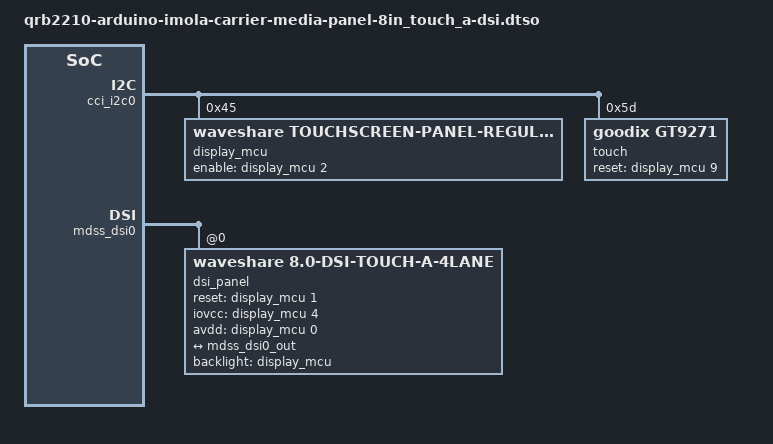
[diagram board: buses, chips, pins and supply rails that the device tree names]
// SPDX-License-Identifier: (GPL-2.0+ OR BSD-3-Clause)
/*
 * Copyright (c) 2025, Arduino SA
 */

 /dts-v1/;
/plugin/;

#include <dt-bindings/gpio/gpio.h>
#include "qrb2210-arduino-imola-carrier-media-common.dtsi"

&cci_i2c0 {
	#address-cells = <1>;
	#size-cells = <0>;

	display_mcu: display_mcu@45 {
		compatible = "waveshare,touchscreen-panel-regulator";
		reg = <0x45>;
		gpio-controller;
		#gpio-cells = <2>;
		enable-gpio = <&display_mcu 2 GPIO_ACTIVE_HIGH>;
	};

	touch: goodix@5d {
		compatible = "goodix,gt9271";
		reg = <0x5d>;
		reset-gpio = <&display_mcu 9 GPIO_ACTIVE_HIGH>;
	};
};

&mdss_dsi0 {
	vdda-supply = <&pm4125_l5>;
	#address-cells = <1>;
	#size-cells = <0>;

	status = "okay";

	dsi_panel: dsi_panel@0 {
		reg = <0>;
		compatible = "waveshare,8.0-dsi-touch-a-4lane";
		reset-gpio = <&display_mcu 1 GPIO_ACTIVE_HIGH>;
		iovcc-gpio = <&display_mcu 4 GPIO_ACTIVE_HIGH>;
		avdd-gpio = <&display_mcu 0 GPIO_ACTIVE_HIGH>;
		backlight = <&display_mcu>;

		port {
			panel_in: endpoint {
				remote-endpoint = <&mdss_dsi0_out>;
			};
		};
	};

};

&mdss_dsi0_out {
	remote-endpoint = <&panel_in>;
	data-lanes = <0 1 2 3>;
};
